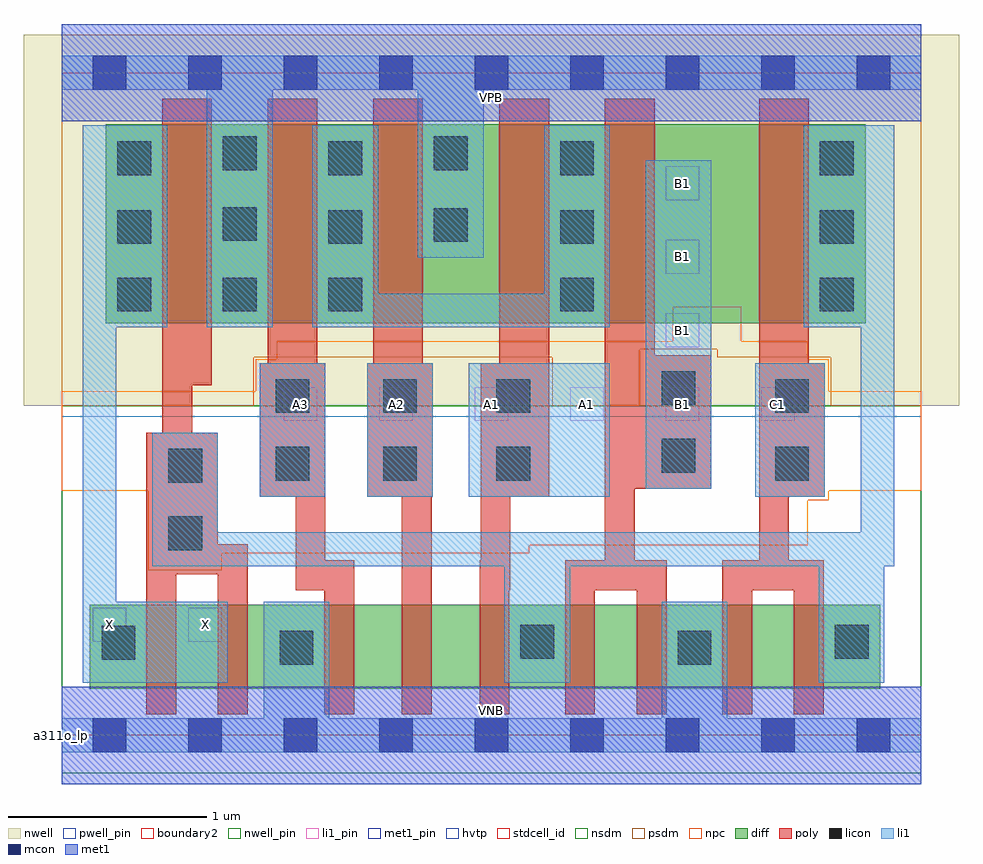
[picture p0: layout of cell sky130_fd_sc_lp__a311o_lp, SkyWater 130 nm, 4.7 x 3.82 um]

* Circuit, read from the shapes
.subckt sky130_fd_sc_lp__a311o_lp A1 A2 A3 B1 C1 VGND VNB VPB VPWR X
XM1 n1 n2 X VNB sky130_fd_pr__nfet_01v8 w=0.42 l=0.15
XM2 VGND n2 n1 VNB sky130_fd_pr__nfet_01v8 w=0.42 l=0.15
XM3 n3 A3 VGND VNB sky130_fd_pr__nfet_01v8 w=0.42 l=0.15
XM4 n4 A2 n3 VNB sky130_fd_pr__nfet_01v8 w=0.42 l=0.15
XM5 n2 A1 n4 VNB sky130_fd_pr__nfet_01v8 w=0.42 l=0.15
XM6 n5 B1 n2 VNB sky130_fd_pr__nfet_01v8 w=0.42 l=0.15
XM7 VGND B1 n5 VNB sky130_fd_pr__nfet_01v8 w=0.42 l=0.15
XM8 n6 C1 VGND VNB sky130_fd_pr__nfet_01v8 w=0.42 l=0.15
XM9 n2 C1 n6 VNB sky130_fd_pr__nfet_01v8 w=0.42 l=0.15
XM10 VPWR n2 X VPB sky130_fd_pr__pfet_01v8_hvt w=1 l=0.25
XM11 n7 A3 VPWR VPB sky130_fd_pr__pfet_01v8_hvt w=1 l=0.25
XM12 VPWR A2 n7 VPB sky130_fd_pr__pfet_01v8_hvt w=1 l=0.25
XM13 n7 A1 VPWR VPB sky130_fd_pr__pfet_01v8_hvt w=1 l=0.25
XM14 n8 B1 n7 VPB sky130_fd_pr__pfet_01v8_hvt w=1 l=0.25
XM15 n2 C1 n8 VPB sky130_fd_pr__pfet_01v8_hvt w=1 l=0.25
.ends

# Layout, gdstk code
import gdstk
lib = gdstk.Library(unit=1e-6, precision=1e-09)
def R(c, l, rs):  # rectangles x0, y0, x1, y1
    for r in rs: c.add(gdstk.rectangle(r[:2], r[2:], *l))
def A(c, l, x, y, w, h, nx, ny, dx, dy):  # array of equal rectangles
    R(c, l, [(x+i*dx, y+j*dy, x+i*dx+w, y+j*dy+h) for i in range(nx) for j in range(ny)])
def P(c, l, *ps):  # polygons
    for p in ps: c.add(gdstk.Polygon(p, *l))
nwell_pin = (64, 16)
nwell = (64, 20)
diff = (65, 20)
poly = (66, 20)
licon = (66, 44)
li1_pin = (67, 16)
li1 = (67, 20)
mcon = (67, 44)
met1_pin = (68, 16)
met1 = (68, 20)
hvtp = (78, 44)
stdcell_id = (81, 4)
nsdm = (93, 44)
psdm = (94, 20)
npc = (95, 20)
pwell_pin = (122, 16)
boundary2 = (236, 0)

sky130_fd_sc_lp__a311o_l = lib.new_cell('sky130_fd_sc_lp__a311o_lp')
R(sky130_fd_sc_lp__a311o_l, nwell_pin, [(0,3.085,4.32,3.33)])
R(sky130_fd_sc_lp__a311o_l, nwell, [(-0.19,1.655,4.51,3.52)])
R(sky130_fd_sc_lp__a311o_l, diff, [(0.14,0.235,4.115,0.655), (0.22,2.07,4.04,3.07)])
P(sky130_fd_sc_lp__a311o_l, poly, [(0.935,0.96),(0.785,0.96),(0.785,1.52),(0.655,1.52),(0.655,1.76),(0.755,1.76),(0.755,3.2),(0.505,3.2),(0.505,1.52),(0.425,1.52),(0.425,0.105),(0.575,0.105),(0.575,0.81),(0.785,0.81),(0.785,0.105),(0.935,0.105)],
  [(1.47,0.88),(1.325,0.88),(1.325,1.87),(1.285,1.87),(1.285,3.2),(1.035,3.2),(1.035,1.87),(0.995,1.87),(0.995,1.2),(1.175,1.2),(1.175,0.73),(1.32,0.73),(1.32,0.105),(1.47,0.105)],
  [(1.865,1.87),(1.815,1.87),(1.815,3.2),(1.565,3.2),(1.565,1.87),(1.535,1.87),(1.535,1.2),(1.71,1.2),(1.71,0.105),(1.86,0.105),(1.86,1.2),(1.865,1.2)],
  [(2.45,3.2),(2.2,3.2),(2.2,1.87),(2.105,1.87),(2.105,0.88),(2.1,0.88),(2.1,0.105),(2.25,0.105),(2.25,0.73),(2.255,0.73),(2.255,1.2),(2.45,1.2)],
  [(3.265,1.91),(2.98,1.91),(2.98,3.2),(2.73,3.2),(2.73,0.88),(2.53,0.88),(2.53,0.105),(2.68,0.105),(2.68,0.73),(2.89,0.73),(2.89,0.105),(3.04,0.105),(3.04,0.88),(2.88,0.88),(2.88,1.24),(3.265,1.24)],
  [(3.835,1.87),(3.755,1.87),(3.755,3.2),(3.505,3.2),(3.505,0.88),(3.32,0.88),(3.32,0.105),(3.47,0.105),(3.47,0.73),(3.68,0.73),(3.68,0.105),(3.83,0.105),(3.83,0.88),(3.655,0.88),(3.655,1.2),(3.835,1.2)])
A(sky130_fd_sc_lp__a311o_l, licon, 0.28, 2.13, 0.17, 0.17, 3, 1, 0.53, 0)
R(sky130_fd_sc_lp__a311o_l, licon, [(1.095,0.355,1.265,0.525), (3.095,0.355,3.265,0.525), (0.2,0.38,0.37,0.55), (2.305,0.385,2.475,0.555), (3.885,0.385,4.055,0.555), (0.535,0.93,0.705,1.1), (0.535,1.27,0.705,1.44), (1.075,1.28,1.245,1.45), (1.615,1.28,1.785,1.45), (2.185,1.28,2.355,1.45), (3.585,1.28,3.755,1.45), (3.015,1.32,3.185,1.49), (1.075,1.62,1.245,1.79), (1.615,1.62,1.785,1.79), (2.185,1.62,2.355,1.79), (3.585,1.62,3.755,1.79), (3.015,1.66,3.185,1.83), (2.505,2.13,2.675,2.3), (3.81,2.13,3.98,2.3), (0.28,2.47,0.45,2.64), (1.34,2.47,1.51,2.64), (2.505,2.47,2.675,2.64), (3.81,2.47,3.98,2.64), (1.87,2.48,2.04,2.65), (0.81,2.485,0.98,2.655), (0.28,2.815,0.45,2.985), (1.34,2.815,1.51,2.985), (2.505,2.815,2.675,2.985), (3.81,2.815,3.98,2.985), (0.81,2.84,0.98,3.01), (1.87,2.84,2.04,3.01)])
A(sky130_fd_sc_lp__a311o_l, li1_pin, 1.115, 1.58, 0.17, 0.17, 6, 1, 0.48, 0)
A(sky130_fd_sc_lp__a311o_l, li1_pin, 3.035, 1.95, 0.17, 0.17, 1, 3, 0, 0.37)
R(sky130_fd_sc_lp__a311o_l, li1_pin, [(0.155,0.47,0.325,0.64), (0.635,0.47,0.805,0.64)])
R(sky130_fd_sc_lp__a311o_l, li1, [(0.995,1.2,1.325,1.87), (1.535,1.2,1.865,1.87), (2.045,1.2,2.755,1.87), (3.485,1.2,3.835,1.87), (2.935,1.24,3.265,2.89)])
P(sky130_fd_sc_lp__a311o_l, li1, [(1.79,2.4),(1.79,3.245),(1.06,3.245),(1.06,2.05),(0.73,2.05),(0.73,3.245),(0,3.245),(0,3.415),(4.32,3.415),(4.32,3.245),(2.12,3.245),(2.12,2.4)],
  [(1.015,0.085),(1.015,0.67),(1.345,0.67),(1.345,0.085),(3.015,0.085),(3.015,0.67),(3.345,0.67),(3.345,0.085),(4.32,0.085),(4.32,-0.085),(0,-0.085),(0,0.085)],
  [(0.785,1.02),(4.015,1.02),(4.015,2.05),(3.73,2.05),(3.73,3.065),(4.185,3.065),(4.185,0.85),(4.135,0.85),(4.135,0.265),(3.805,0.265),(3.805,0.85),(2.555,0.85),(2.555,0.265),(2.225,0.265),(2.225,0.85),(0.455,0.85),(0.455,1.52),(0.785,1.52)],
  [(2.425,2.22),(2.425,3.065),(2.755,3.065),(2.755,2.05),(1.26,2.05),(1.26,3.065),(1.59,3.065),(1.59,2.22)],
  [(0.275,2.05),(0.275,0.67),(0.835,0.67),(0.835,0.265),(0.105,0.265),(0.105,3.065),(0.53,3.065),(0.53,2.05)])
A(sky130_fd_sc_lp__a311o_l, mcon, 0.155, -0.085, 0.17, 0.17, 9, 2, 0.48, 3.33)
R(sky130_fd_sc_lp__a311o_l, met1_pin, [(0,0,4.32,0.245), (0,3.085,4.32,3.33)])
R(sky130_fd_sc_lp__a311o_l, met1, [(0,-0.245,4.32,0.245), (0,3.085,4.32,3.575)])
R(sky130_fd_sc_lp__a311o_l, hvtp, [(0,1.6,4.32,3.33)])
R(sky130_fd_sc_lp__a311o_l, stdcell_id, [(0,0,4.32,3.33)])
R(sky130_fd_sc_lp__a311o_l, nsdm, [(0,-0.19,4.32,1.655)])
P(sky130_fd_sc_lp__a311o_l, psdm, [(4.32,3.52),(0,3.52),(0,1.655),(0.965,1.655),(0.965,1.9),(2.465,1.9),(2.465,1.655),(2.905,1.655),(2.905,1.94),(3.295,1.94),(3.295,1.9),(3.865,1.9),(3.865,1.655),(4.32,1.655)])
P(sky130_fd_sc_lp__a311o_l, npc, [(4.32,1.73),(3.855,1.73),(3.855,1.89),(3.75,1.89),(3.75,1.98),(3.415,1.98),(3.415,2.155),(3.07,2.155),(3.07,1.98),(1.08,1.98),(1.08,1.89),(0.975,1.89),(0.975,1.73),(0,1.73),(0,1.23),(0.435,1.23),(0.435,0.83),(0.805,0.83),(0.805,0.915),(2.35,0.915),(2.35,0.955),(3.75,0.955),(3.75,1.18),(3.855,1.18),(3.855,1.23),(4.32,1.23)])
R(sky130_fd_sc_lp__a311o_l, pwell_pin, [(0,0,4.32,0.245)])
R(sky130_fd_sc_lp__a311o_l, boundary2, [(0,0,4.32,3.33)])
sky130_fd_sc_lp__a311o_l.add(gdstk.Label('VNB', (2.16,0.123), layer=64, texttype=59))
sky130_fd_sc_lp__a311o_l.add(gdstk.Label('VPB', (2.16,3.208), layer=64, texttype=5))
sky130_fd_sc_lp__a311o_l.add(gdstk.Label('a311o_lp', (0,0), layer=83, texttype=44))
sky130_fd_sc_lp__a311o_l.add(gdstk.Label('VPWR', (2.16,3.208), layer=68, texttype=5))
sky130_fd_sc_lp__a311o_l.add(gdstk.Label('VGND', (2.16,0.123), layer=68, texttype=5))
sky130_fd_sc_lp__a311o_l.add(gdstk.Label('C1', (3.6,1.665), layer=67, texttype=5))
sky130_fd_sc_lp__a311o_l.add(gdstk.Label('B1', (3.12,1.665), layer=67, texttype=5))
sky130_fd_sc_lp__a311o_l.add(gdstk.Label('B1', (3.12,2.035), layer=67, texttype=5))
sky130_fd_sc_lp__a311o_l.add(gdstk.Label('B1', (3.12,2.405), layer=67, texttype=5))
sky130_fd_sc_lp__a311o_l.add(gdstk.Label('B1', (3.12,2.775), layer=67, texttype=5))
sky130_fd_sc_lp__a311o_l.add(gdstk.Label('A3', (1.2,1.665), layer=67, texttype=5))
sky130_fd_sc_lp__a311o_l.add(gdstk.Label('A2', (1.68,1.665), layer=67, texttype=5))
sky130_fd_sc_lp__a311o_l.add(gdstk.Label('A1', (2.16,1.665), layer=67, texttype=5))
sky130_fd_sc_lp__a311o_l.add(gdstk.Label('A1', (2.64,1.665), layer=67, texttype=5))
sky130_fd_sc_lp__a311o_l.add(gdstk.Label('X', (0.24,0.555), layer=67, texttype=5))
sky130_fd_sc_lp__a311o_l.add(gdstk.Label('X', (0.72,0.555), layer=67, texttype=5))

lib.write_gds('sky130_fd_sc_lp__a311o_lp.gds')
